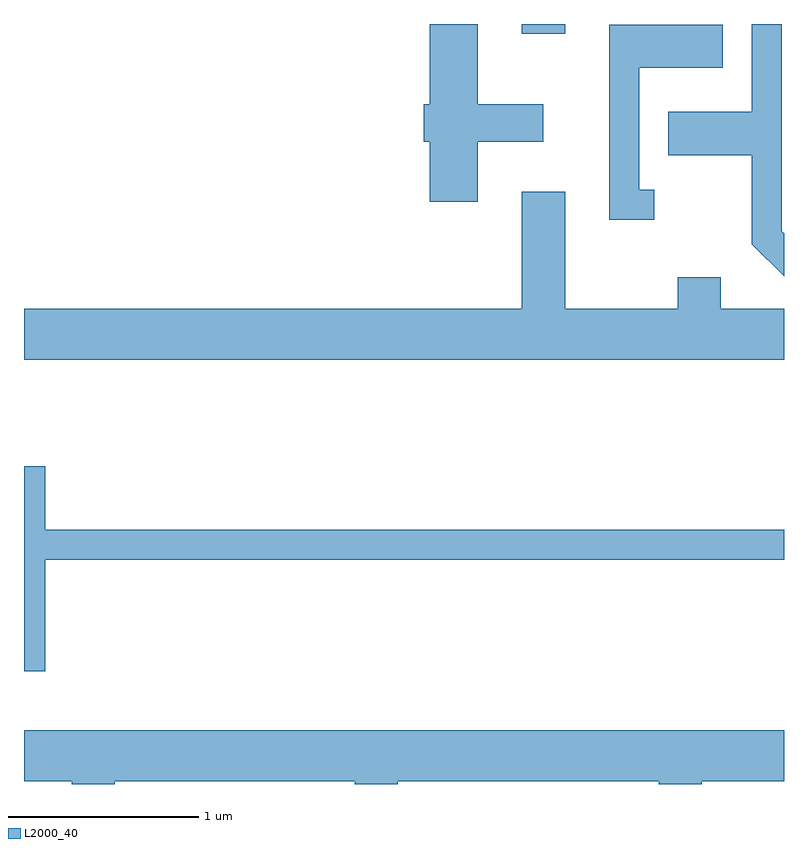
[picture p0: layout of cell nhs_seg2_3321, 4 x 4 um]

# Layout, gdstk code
import gdstk
lib = gdstk.Library(unit=1e-6, precision=1e-09)
def R(c, l, rs):  # rectangles x0, y0, x1, y1
    for r in rs: c.add(gdstk.rectangle(r[:2], r[2:], *l))
def P(c, l, *ps):  # polygons
    for p in ps: c.add(gdstk.Polygon(p, *l))
L2000_40 = (2000, 40)

nhs_seg2_3321 = lib.new_cell('nhs_seg2_3321')
R(nhs_seg2_3321, L2000_40, [(284.231,1107.751,284.459,1107.802)])
P(nhs_seg2_3321, L2000_40, [(283.999,1107.181),(284.344,1107.181),(284.344,1107.379),(283.999,1107.379),(283.999,1107.802),(283.746,1107.802),(283.746,1107.379),(283.716,1107.379),(283.716,1107.181),(283.746,1107.181),(283.746,1106.866),(283.999,1106.866)],
  [(285.611,1106.7),(285.599,1106.712),(285.599,1107.802),(285.441,1107.802),(285.441,1107.339),(285.001,1107.339),(285.001,1107.111),(285.441,1107.111),(285.441,1106.644),(285.611,1106.474)],
  [(284.928,1106.929),(284.849,1106.929),(284.849,1107.571),(285.289,1107.571),(285.289,1107.799),(284.691,1107.799),(284.691,1106.771),(284.928,1106.771)],
  [(285.611,1106.304),(285.279,1106.304),(285.279,1106.469),(285.051,1106.469),(285.051,1106.304),(284.459,1106.304),(284.459,1106.919),(284.231,1106.919),(284.231,1106.304),(281.611,1106.304),(281.611,1106.036),(285.611,1106.036)],
  [(281.724,1104.981),(285.611,1104.981),(285.611,1105.139),(281.724,1105.139),(281.724,1105.474),(281.611,1105.474),(281.611,1104.396),(281.724,1104.396)],
  [(282.089,1103.816),(283.351,1103.816),(283.351,1103.802),(283.579,1103.802),(283.579,1103.816),(284.951,1103.816),(284.951,1103.802),(285.179,1103.802),(285.179,1103.816),(285.611,1103.816),(285.611,1104.084),(281.611,1104.084),(281.611,1103.816),(281.861,1103.816),(281.861,1103.802),(282.089,1103.802)])

lib.write_gds('nhs_seg2_3321.gds')
